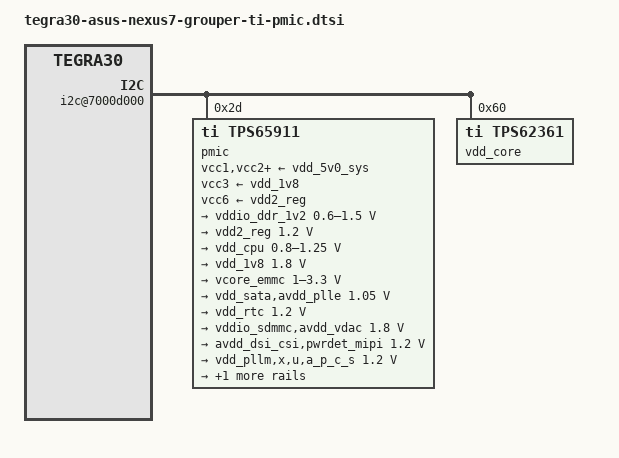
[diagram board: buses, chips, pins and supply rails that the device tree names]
// SPDX-License-Identifier: GPL-2.0

#include <dt-bindings/interrupt-controller/arm-gic.h>
#include <dt-bindings/gpio/gpio.h>

/ {
	i2c@7000d000 {
		pmic: pmic@2d {
			compatible = "ti,tps65911";
			reg = <0x2d>;

			interrupts = <GIC_SPI 86 IRQ_TYPE_LEVEL_HIGH>;
			#interrupt-cells = <2>;
			interrupt-controller;
			wakeup-source;

			ti,en-gpio-sleep = <0 0 1 0 0 0 0 0 0>;
			ti,system-power-controller;
			ti,sleep-keep-ck32k;
			ti,sleep-enable;

			#gpio-cells = <2>;
			gpio-controller;

			vcc1-supply = <&vdd_5v0_sys>;
			vcc2-supply = <&vdd_5v0_sys>;
			vcc3-supply = <&vdd_1v8>;
			vcc4-supply = <&vdd_5v0_sys>;
			vcc5-supply = <&vdd_5v0_sys>;
			vcc6-supply = <&vdd2_reg>;
			vcc7-supply = <&vdd_5v0_sys>;
			vccio-supply = <&vdd_5v0_sys>;

			regulators {
				vdd1 {
					regulator-name = "vddio_ddr_1v2";
					regulator-min-microvolt = <600000>;
					regulator-max-microvolt = <1500000>;
					regulator-always-on;
					regulator-boot-on;
					ti,regulator-ext-sleep-control = <8>;
				};

				vdd2_reg: vdd2 {
					regulator-name = "vdd2_1v2";
					regulator-min-microvolt = <1200000>;
					regulator-max-microvolt = <1200000>;
					regulator-always-on;
					regulator-boot-on;
				};

				vdd_cpu: vddctrl {
					regulator-name = "vdd_cpu,vdd_sys";
					regulator-min-microvolt = <800000>;
					regulator-max-microvolt = <1250000>;
					regulator-coupled-with = <&vdd_core>;
					regulator-coupled-max-spread = <300000>;
					regulator-max-step-microvolt = <100000>;
					regulator-always-on;
					ti,regulator-ext-sleep-control = <1>;

					nvidia,tegra-cpu-regulator;
				};

				vdd_1v8: vio {
					regulator-name = "vdd_1v8_gen";
					regulator-min-microvolt = <1800000>;
					regulator-max-microvolt = <1800000>;
					regulator-always-on;
					regulator-boot-on;
				};

				vcore_emmc: ldo1 {
					regulator-name = "vdd_pexa,vdd_pexb";
					regulator-min-microvolt = <1000000>;
					regulator-max-microvolt = <3300000>;
					regulator-always-on;
				};

				ldo2 {
					regulator-name = "vdd_sata,avdd_plle";
					regulator-min-microvolt = <1050000>;
					regulator-max-microvolt = <1050000>;
				};

				/* LDO3 is not connected to anything */

				ldo4 {
					regulator-name = "vdd_rtc";
					regulator-min-microvolt = <1200000>;
					regulator-max-microvolt = <1200000>;
					regulator-always-on;
				};

				ldo5 {
					regulator-name = "vddio_sdmmc,avdd_vdac";
					regulator-min-microvolt = <1800000>;
					regulator-max-microvolt = <1800000>;
				};

				ldo6 {
					regulator-name = "avdd_dsi_csi,pwrdet_mipi";
					regulator-min-microvolt = <1200000>;
					regulator-max-microvolt = <1200000>;
				};

				ldo7 {
					regulator-name = "vdd_pllm,x,u,a_p_c_s";
					regulator-min-microvolt = <1200000>;
					regulator-max-microvolt = <1200000>;
					regulator-always-on;
					regulator-boot-on;
					ti,regulator-ext-sleep-control = <8>;
				};

				ldo8 {
					regulator-name = "vdd_ddr_hs";
					regulator-min-microvolt = <1000000>;
					regulator-max-microvolt = <1000000>;
					regulator-always-on;
					ti,regulator-ext-sleep-control = <8>;
				};
			};
		};

		vdd_core: core-regulator@60 {
			compatible = "ti,tps62361";
			reg = <0x60>;

			regulator-name = "tps62361-vout";
			regulator-min-microvolt = <500000>;
			regulator-max-microvolt = <1350000>;
			regulator-coupled-with = <&vdd_cpu>;
			regulator-coupled-max-spread = <300000>;
			regulator-max-step-microvolt = <100000>;
			regulator-boot-on;
			regulator-always-on;
			ti,enable-vout-discharge;
			ti,vsel0-state-high;
			ti,vsel1-state-high;

			nvidia,tegra-core-regulator;
		};
	};

	vdd_3v3_sys: regulator-3v3 {
		gpio = <&pmic 6 GPIO_ACTIVE_HIGH>;
		enable-active-high;
	};

	pmc@7000e400 {
		i2c-thermtrip {
			nvidia,i2c-controller-id = <4>;
			nvidia,bus-addr = <0x2d>;
			nvidia,reg-addr = <0x3f>;
			nvidia,reg-data = <0x80>;
		};
	};
};
